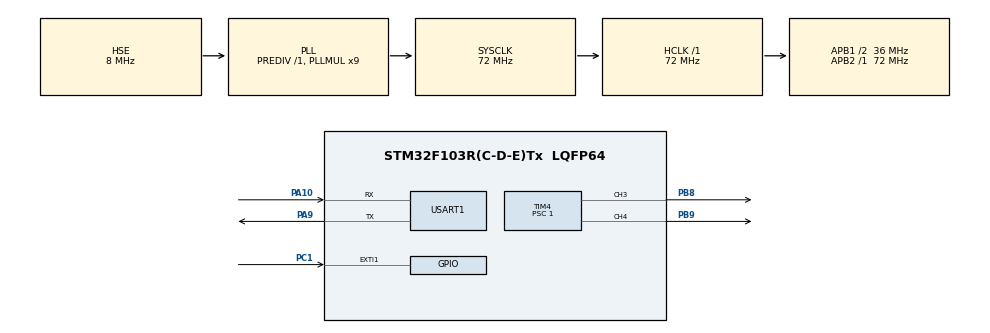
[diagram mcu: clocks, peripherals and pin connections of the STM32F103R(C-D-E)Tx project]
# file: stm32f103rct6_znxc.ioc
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Mcu.Family=STM32F1
Mcu.Name=STM32F103R(C-D-E)Tx
Mcu.Package=LQFP64
NVIC.EXTI1_IRQn=true\:0\:0\:true\:false\:true\:true\:true\:true
NVIC.PriorityGroup=NVIC_PRIORITYGROUP_4
NVIC.TIM4_IRQn=true\:0\:0\:false\:false\:true\:true\:true\:true
NVIC.TIM6_IRQn=true\:0\:0\:false\:false\:true\:true\:true\:true
NVIC.USART1_IRQn=true\:1\:0\:true\:false\:true\:true\:true\:true
PA10.Mode=Asynchronous
PA10.Signal=USART1_RX
PA13.Mode=Serial_Wire
PA13.Signal=SYS_JTMS-SWDIO
PA14.Mode=Serial_Wire
PA14.Signal=SYS_JTCK-SWCLK
PA9.Mode=Asynchronous
PA9.Signal=USART1_TX
PB8.Signal=S_TIM4_CH3
PB9.Signal=S_TIM4_CH4
PC1.GPIO_ModeDefaultEXTI=GPIO_MODE_IT_RISING
PC1.Signal=GPXTI1
PD0-OSC_IN.Mode=HSE-External-Oscillator
PD0-OSC_IN.Signal=RCC_OSC_IN
PD1-OSC_OUT.Mode=HSE-External-Oscillator
PD1-OSC_OUT.Signal=RCC_OSC_OUT
ProjectManager.HeapSize=0x200
ProjectManager.StackSize=0x400
ProjectManager.TargetToolchain=MDK-ARM V5.32
RCC.AHBFreq_Value=72000000
RCC.APB1CLKDivider=RCC_HCLK_DIV2
RCC.APB1Freq_Value=36000000
RCC.APB1TimFreq_Value=72000000
RCC.APB2Freq_Value=72000000
RCC.APB2TimFreq_Value=72000000
RCC.HCLKFreq_Value=72000000
RCC.PLLMUL=RCC_PLL_MUL9
RCC.PLLSourceVirtual=RCC_PLLSOURCE_HSE
RCC.SYSCLKFreq_VALUE=72000000
RCC.SYSCLKSource=RCC_SYSCLKSOURCE_PLLCLK
RCC.USBFreq_Value=72000000
SH.S_TIM4_CH3.0=TIM4_CH3,PWM Generation3 CH3
SH.S_TIM4_CH4.0=TIM4_CH4,PWM Generation4 CH4
TIM4.AutoReloadPreload=TIM_AUTORELOAD_PRELOAD_ENABLE
TIM4.Channel-PWM\ Generation3\ CH3=TIM_CHANNEL_3
TIM4.Channel-PWM\ Generation4\ CH4=TIM_CHANNEL_4
TIM4.OCMode_PWM-PWM\ Generation3\ CH3=TIM_OCMODE_PWM1
TIM4.OCMode_PWM-PWM\ Generation4\ CH4=TIM_OCMODE_PWM1
TIM4.Period=750
TIM4.Prescaler=1
TIM4.Pulse-PWM\ Generation3\ CH3=150
TIM4.Pulse-PWM\ Generation4\ CH4=150
TIM4.TIM_MasterOutputTrigger=TIM_TRGO_RESET
TIM4.TIM_MasterSlaveMode=TIM_MASTERSLAVEMODE_DISABLE
TIM6.AutoReloadPreload=TIM_AUTORELOAD_PRELOAD_DISABLE
TIM6.Period=1799
TIM6.Prescaler=1
USART1.VirtualMode=VM_ASYNC
VP_TIM6_VS_ClockSourceINT.Mode=Enable_Timer
board=custom

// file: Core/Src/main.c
/* USER CODE BEGIN Header */
/**
  ******************************************************************************
  * @file           : main.c
  * @brief          : Main program body
  ******************************************************************************
  * @attention
  *
  * Copyright (c) 2022 STMicroelectronics.
  * All rights reserved.
  *
  * This software is licensed under terms that can be found in the LICENSE file
  * in the root directory of this software component.
  * If no LICENSE file comes with this software, it is provided AS-IS.
  *
  ******************************************************************************
  */
/* USER CODE END Header */
#include "main.h"
#include "tim.h"
#include "usart.h"
#include "gpio.h"

void SystemClock_Config(void);

/* USER CODE BEGIN 0 */
#define DELAY_T1 1
/* USER CODE END 0 */

int main(void)
{

  /* MCU Configuration--------------------------------------------------------*/

  /* Reset of all peripherals, Initializes the Flash interface and the Systick. */
  HAL_Init();

  /* Configure the system clock */
  SystemClock_Config();

  /* Initialize all configured peripherals */
  MX_GPIO_Init();
  MX_TIM4_Init();
  MX_USART1_UART_Init();
  MX_TIM6_Init();
  /* USER CODE BEGIN 2 */
	LED_GPIO_Init();
	KEY_GPIO_Init();
	BEEP_GPIO_Init();
	MOTOR_GPIO_Init();
	ULTRASONIC_GPIO_Init();

	int FD = 0; // 超声波 测前距
	int LD = 0; // 左距
	int RD = 0; // 右距
	//Set_Delay_US(DELAY_T1);

  /* USER CODE END 2 */

  /* Infinite loop */
  while (1)
  {

    /* USER CODE BEGIN 3 */

		LED3_ON;
		LED4_OFF;
		Delay_us(1000);
		LED4_ON;
		LED3_OFF;
		Delay_us(1000);

		FD = UltrasonicWave_Start();
		HAL_Delay(100); /* 等待测距完成 */
		if(FD>10) // 距离不小于 10 cm
		{
			Motor_PWM_Left(300);
			Motor_PWM_Right(300);
			LEFT_MOTOR_GO;
			RIGHT_MOTOR_GO;
			BEEP_ON;
			HAL_Delay(100);
			BEEP_OFF;
		}else{
			LEFT_MOTOR_OFF;
			RIGHT_MOTOR_OFF;
		}

  }
  /* USER CODE END 3 */
}

void SystemClock_Config(void)
{
  RCC_OscInitTypeDef RCC_OscInitStruct = {0};
  RCC_ClkInitTypeDef RCC_ClkInitStruct = {0};

  /** Initializes the RCC Oscillators according to the specified parameters
  * in the RCC_OscInitTypeDef structure.
  */
  RCC_OscInitStruct.OscillatorType = RCC_OSCILLATORTYPE_HSE;
  RCC_OscInitStruct.HSEState = RCC_HSE_ON;
  RCC_OscInitStruct.HSEPredivValue = RCC_HSE_PREDIV_DIV1;
  RCC_OscInitStruct.HSIState = RCC_HSI_ON;
  RCC_OscInitStruct.PLL.PLLState = RCC_PLL_ON;
  RCC_OscInitStruct.PLL.PLLSource = RCC_PLLSOURCE_HSE;
  RCC_OscInitStruct.PLL.PLLMUL = RCC_PLL_MUL9;
  if (HAL_RCC_OscConfig(&RCC_OscInitStruct) != HAL_OK)
  {
    Error_Handler();
  }

  /** Initializes the CPU, AHB and APB buses clocks
  */
  RCC_ClkInitStruct.ClockType = RCC_CLOCKTYPE_HCLK|RCC_CLOCKTYPE_SYSCLK
                              |RCC_CLOCKTYPE_PCLK1|RCC_CLOCKTYPE_PCLK2;
  RCC_ClkInitStruct.SYSCLKSource = RCC_SYSCLKSOURCE_PLLCLK;
  RCC_ClkInitStruct.AHBCLKDivider = RCC_SYSCLK_DIV1;
  RCC_ClkInitStruct.APB1CLKDivider = RCC_HCLK_DIV2;
  RCC_ClkInitStruct.APB2CLKDivider = RCC_HCLK_DIV1;

  if (HAL_RCC_ClockConfig(&RCC_ClkInitStruct, FLASH_LATENCY_2) != HAL_OK)
  {
    Error_Handler();
  }
}

void Error_Handler(void)
{
  __disable_irq();
  while (1)
  {
  }
}
